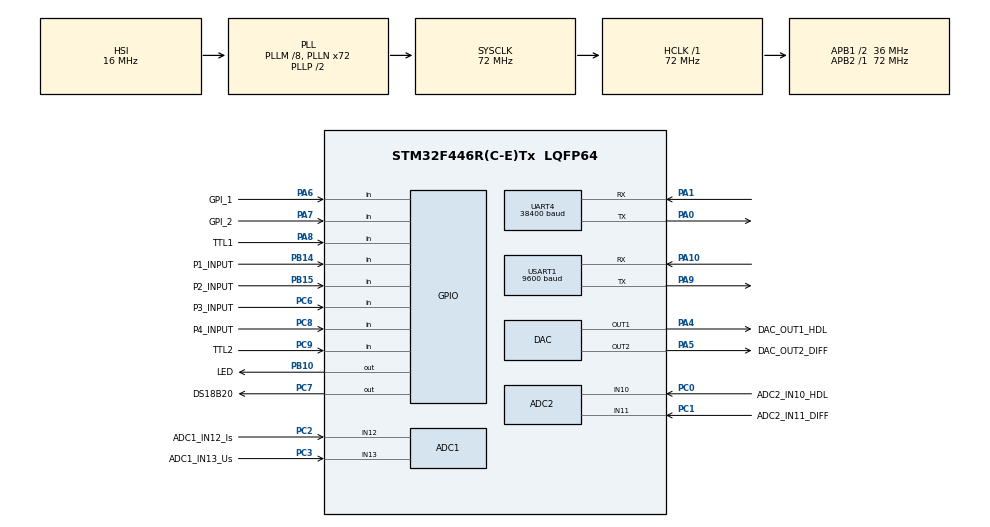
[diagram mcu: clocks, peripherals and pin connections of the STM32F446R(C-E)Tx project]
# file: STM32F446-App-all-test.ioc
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ADC1.Channel-0\#ChannelRegularConversion=ADC_CHANNEL_12
ADC1.Channel-1\#ChannelRegularConversion=ADC_CHANNEL_13
ADC1.ClockPrescaler=ADC_CLOCK_SYNC_PCLK_DIV4
ADC1.ContinuousConvMode=ENABLE
ADC1.DMAContinuousRequests=ENABLE
ADC1.InjNumberOfConversion=0
ADC1.NbrOfConversion=2
ADC1.NbrOfConversionFlag=1
ADC1.Rank-0\#ChannelRegularConversion=1
ADC1.Rank-1\#ChannelRegularConversion=2
ADC1.SamplingTime-0\#ChannelRegularConversion=ADC_SAMPLETIME_144CYCLES
ADC1.SamplingTime-1\#ChannelRegularConversion=ADC_SAMPLETIME_144CYCLES
ADC1.ScanConvMode=ENABLE
ADC1.master=1
ADC2.Channel-0\#ChannelRegularConversion=ADC_CHANNEL_10
ADC2.Channel-1\#ChannelRegularConversion=ADC_CHANNEL_11
ADC2.ClockPrescaler=ADC_CLOCK_SYNC_PCLK_DIV4
ADC2.ContinuousConvMode=ENABLE
ADC2.DMAContinuousRequests=ENABLE
ADC2.NbrOfConversion=2
ADC2.NbrOfConversionFlag=1
ADC2.Rank-0\#ChannelRegularConversion=1
ADC2.Rank-1\#ChannelRegularConversion=2
ADC2.SamplingTime-0\#ChannelRegularConversion=ADC_SAMPLETIME_144CYCLES
ADC2.SamplingTime-1\#ChannelRegularConversion=ADC_SAMPLETIME_144CYCLES
ADC2.ScanConvMode=ENABLE
Dma.ADC1.1.Direction=DMA_PERIPH_TO_MEMORY
Dma.ADC1.1.FIFOMode=DMA_FIFOMODE_DISABLE
Dma.ADC1.1.Instance=DMA2_Stream0
Dma.ADC1.1.MemDataAlignment=DMA_MDATAALIGN_WORD
Dma.ADC1.1.MemInc=DMA_MINC_ENABLE
Dma.ADC1.1.Mode=DMA_CIRCULAR
Dma.ADC1.1.PeriphDataAlignment=DMA_PDATAALIGN_WORD
Dma.ADC1.1.PeriphInc=DMA_PINC_DISABLE
Dma.ADC1.1.Priority=DMA_PRIORITY_LOW
Dma.ADC2.2.Direction=DMA_PERIPH_TO_MEMORY
Dma.ADC2.2.FIFOMode=DMA_FIFOMODE_DISABLE
Dma.ADC2.2.Instance=DMA2_Stream2
Dma.ADC2.2.MemDataAlignment=DMA_MDATAALIGN_WORD
Dma.ADC2.2.MemInc=DMA_MINC_ENABLE
Dma.ADC2.2.Mode=DMA_CIRCULAR
Dma.ADC2.2.PeriphDataAlignment=DMA_PDATAALIGN_WORD
Dma.ADC2.2.PeriphInc=DMA_PINC_DISABLE
Dma.ADC2.2.Priority=DMA_PRIORITY_LOW
Dma.Request0=UART4_RX
Dma.Request1=ADC1
Dma.Request2=ADC2
Dma.UART4_RX.0.Direction=DMA_PERIPH_TO_MEMORY
Dma.UART4_RX.0.FIFOMode=DMA_FIFOMODE_DISABLE
Dma.UART4_RX.0.Instance=DMA1_Stream2
Dma.UART4_RX.0.MemDataAlignment=DMA_MDATAALIGN_BYTE
Dma.UART4_RX.0.MemInc=DMA_MINC_ENABLE
Dma.UART4_RX.0.Mode=DMA_CIRCULAR
Dma.UART4_RX.0.PeriphDataAlignment=DMA_PDATAALIGN_BYTE
Dma.UART4_RX.0.PeriphInc=DMA_PINC_DISABLE
Dma.UART4_RX.0.Priority=DMA_PRIORITY_LOW
Mcu.Family=STM32F4
Mcu.Name=STM32F446R(C-E)Tx
Mcu.Package=LQFP64
NVIC.DMA1_Stream2_IRQn=true\:0\:0\:false\:false\:true\:false\:true\:true
NVIC.DMA2_Stream0_IRQn=true\:0\:0\:true\:false\:true\:false\:true\:true
NVIC.DMA2_Stream2_IRQn=true\:0\:0\:true\:false\:true\:false\:true\:true
NVIC.PriorityGroup=NVIC_PRIORITYGROUP_4
NVIC.UART4_IRQn=true\:0\:0\:false\:false\:true\:true\:true\:true
PA0-WKUP.Mode=Asynchronous
PA0-WKUP.Signal=UART4_TX
PA1.Mode=Asynchronous
PA1.Signal=UART4_RX
PA10.Mode=Asynchronous
PA10.Signal=USART1_RX
PA13.Mode=Serial_Wire
PA13.Signal=SYS_JTMS-SWDIO
PA14.Mode=Serial_Wire
PA14.Signal=SYS_JTCK-SWCLK
PA4.GPIO_Label=DAC_OUT1_HDL
PA4.Signal=COMP_DAC1_group
PA5.GPIO_Label=DAC_OUT2_DIFF
PA5.Signal=COMP_DAC2_group
PA6.GPIO_Label=GPI_1
PA6.Signal=GPIO_Input
PA7.GPIO_Label=GPI_2
PA7.Signal=GPIO_Input
PA8.GPIO_Label=TTL1
PA8.Signal=GPIO_Input
PA9.Mode=Asynchronous
PA9.Signal=USART1_TX
PB10.GPIO_Label=LED
PB10.Signal=GPIO_Output
PB14.GPIO_Label=P1_INPUT
PB14.Signal=GPIO_Input
PB15.GPIO_Label=P2_INPUT
PB15.Signal=GPIO_Input
PC0.GPIO_Label=ADC2_IN10_HDL
PC0.Signal=ADCx_IN10
PC1.GPIO_Label=ADC2_IN11_DIFF
PC1.Signal=ADCx_IN11
PC2.GPIO_Label=ADC1_IN12_Is
PC2.Signal=ADCx_IN12
PC3.GPIO_Label=ADC1_IN13_Us
PC3.Signal=ADCx_IN13
PC6.GPIO_Label=P3_INPUT
PC6.Signal=GPIO_Input
PC7.GPIO_Label=DS18B20
PC7.Signal=GPIO_Output
PC8.GPIO_Label=P4_INPUT
PC8.Signal=GPIO_Input
PC9.GPIO_Label=TTL2
PC9.Signal=GPIO_Input
ProjectManager.HeapSize=0x200
ProjectManager.StackSize=0x400
ProjectManager.TargetToolchain=STM32CubeIDE
RCC.AHBFreq_Value=72000000
RCC.APB1CLKDivider=RCC_HCLK_DIV2
RCC.APB1Freq_Value=36000000
RCC.APB1TimFreq_Value=72000000
RCC.APB2Freq_Value=72000000
RCC.APB2TimFreq_Value=72000000
RCC.CortexFreq_Value=72000000
RCC.HCLKFreq_Value=72000000
RCC.HSE_VALUE=8000000
RCC.PLLM=8
RCC.PLLN=72
RCC.SYSCLKFreq_VALUE=72000000
RCC.SYSCLKSource=RCC_SYSCLKSOURCE_PLLCLK
RCC.USBFreq_Value=72000000
RCC.VCOOutputFreq_Value=144000000
SH.ADCx_IN10.0=ADC2_IN10,IN10
SH.ADCx_IN11.0=ADC2_IN11,IN11
SH.ADCx_IN12.0=ADC1_IN12,IN12
SH.ADCx_IN13.0=ADC1_IN13,IN13
SH.COMP_DAC1_group.0=DAC_OUT1,DAC_OUT1
SH.COMP_DAC2_group.0=DAC_OUT2,DAC_OUT2
TIM6.Period=0xffff-1
TIM6.Prescaler=72-1
UART4.BaudRate=38400
UART4.VirtualMode=Asynchronous
USART1.BaudRate=9600
USART1.VirtualMode=VM_ASYNC
VP_TIM6_VS_ClockSourceINT.Mode=Enable_Timer
board=custom

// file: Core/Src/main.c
/* USER CODE BEGIN Header */
/**
  ******************************************************************************
  * @file           : main.c
  * @brief          : Main program body
  ******************************************************************************
  * @attention
  *
  * Copyright (c) 2022 STMicroelectronics.
  * All rights reserved.
  *
  * This software is licensed under terms that can be found in the LICENSE file
  * in the root directory of this software component.
  * If no LICENSE file comes with this software, it is provided AS-IS.
  *
  ******************************************************************************
  */
/* USER CODE END Header */
#include "main.h"

/* USER CODE BEGIN Includes */
#include <stdio.h>
#include <string.h>
#include <stdbool.h>

#include "iap.h"
#include "flash.h"

/* USER CODE END Includes */

/* USER CODE BEGIN PD */
/*Defines*/
/**
 * @brief           Calculate length of statically allocated array
 */
#define ARRAY_LEN(x)            (sizeof(x) / sizeof((x)[0]))
#define STRUCT_ADDRERSS 0x08004800u

/* USER CODE END PD */

 ADC_HandleTypeDef hadc1;
ADC_HandleTypeDef hadc2;
DMA_HandleTypeDef hdma_adc1;
DMA_HandleTypeDef hdma_adc2;

DAC_HandleTypeDef hdac;

TIM_HandleTypeDef htim6;

UART_HandleTypeDef huart1;

/* USER CODE BEGIN PV */
/* variables for iap*/
/**
  * @brief           USART RX buffer for DMA to transfer every received byte
  * @note            Contains raw data that are about to be processed by different events
  */
uint8_t usart_rx_dma_buffer[245];
uint32_t flashBuffer[60];
uint32_t flashBufferCRC[60];
uint8_t crcRes;
uint8_t cnt1 = 0;
uint8_t cnt2 = 0;
uint8_t cnt3 = 0;
uint8_t ind = 0;
uint32_t addrCNT = 0;
uint32_t addrCNTEND = 0;
/*DS18B20 vars*/
uint8_t Presence = 0;
uint8_t Temp_byte1;
uint8_t Temp_byte2;
uint16_t TEMP;
extern uint16_t val;
extern uint8_t buff[4];
uint32_t Is;
uint32_t Us;
uint32_t hdl;
uint32_t diff;

uint32_t vADC1[2];
uint32_t vADC2[2];
/* USER CODE END PV */

void SystemClock_Config(void);
static void MX_GPIO_Init(void);
static void MX_DMA_Init(void);
static void MX_ADC1_Init(void);
static void MX_ADC2_Init(void);
static void MX_DAC_Init(void);
static void MX_UART4_Init(void);
static void MX_USART1_UART_Init(void);
static void MX_TIM6_Init(void);
/* USER CODE BEGIN PFP */

void usart_rx_check(void);
void usart_process_data(const void* data, size_t len);
uint8_t gencrc(uint8_t crc, uint8_t Size, uint8_t *Buffer);
void DS18B20_acq(void);
void DS18B20_Write (uint8_t data);
void delay (uint32_t us);
uint8_t DS18B20_Start (void);
uint8_t read (void);
void gpio_set_input(void);
void gpio_set_output(void);
extern void ultrasound(void);
/* USER CODE END PFP */

int main(void)
{
  /* USER CODE BEGIN 1 */
	/*IAP*/
	IAPSTRUCT structREAD;
	uint32_t *iapStructREAD_p = (uint32_t *)&structREAD;
	uint32_t numofwords = 12;
	uint8_t vals[8];

  /* USER CODE END 1 */

  /* MCU Configuration--------------------------------------------------------*/

  /* Reset of all peripherals, Initializes the Flash interface and the Systick. */
  HAL_Init();

  /* Configure the system clock */
  SystemClock_Config();

  /* Initialize all configured peripherals */
  MX_GPIO_Init();
  MX_DMA_Init();
  MX_ADC1_Init();
  MX_ADC2_Init();
  MX_DAC_Init();
  MX_UART4_Init();
  MX_USART1_UART_Init();
  MX_TIM6_Init();
  /* USER CODE BEGIN 2 */
  /*DS18B20 for delay in us*/

  /* IAP */
  flash_read((uint32_t)STRUCT_ADDRERSS, iapStructREAD_p, numofwords);
  addrCNT = structREAD.ADDRESS_APP_2_START;
  addrCNTEND = structREAD.ADDRESS_APP_2_END;

  /* ADC1-2 */
  HAL_ADC_Start_DMA(&hadc1, (uint32_t *)vADC1, 2);
  HAL_ADC_Start_DMA(&hadc2, (uint32_t *)vADC2, 2);
  HAL_DAC_Start(&hdac, DAC_CHANNEL_1);
  HAL_DAC_Start(&hdac, DAC_CHANNEL_2);
  HAL_DAC_SetValue(&hdac, DAC_CHANNEL_1, DAC_ALIGN_12B_R, 2000);
  HAL_DAC_SetValue(&hdac, DAC_CHANNEL_2, DAC_ALIGN_12B_R, 1000);

  HAL_TIM_Base_Start(&htim6);

  /* USER CODE END 2 */

  /* Infinite loop */
  /* USER CODE BEGIN WHILE */
  while (1)
  {
	  HAL_ADC_Stop_DMA(&hadc1);
	  HAL_ADC_Stop_DMA(&hadc2);
	  //DS18B20_acq();
	  Presence = DS18B20_Start ();
	  HAL_Delay (1);
	  DS18B20_Write (0xCC);  // skip ROM
	  DS18B20_Write (0x44);  // convert t
	  HAL_Delay (800);

	  Presence = DS18B20_Start ();
	  HAL_Delay(1);
	  DS18B20_Write (0xCC);  // skip ROM
	  DS18B20_Write (0xBE);  // Read Scratch-pad

	  Temp_byte1 = read();
	  Temp_byte2 = read();
	  TEMP = (Temp_byte2<<8) | Temp_byte1;

	  HAL_UART_Receive(&huart1, buff, 4, 100u);
	  ultrasound();

	  HAL_ADC_Start_DMA(&hadc1, (uint32_t *)vADC1, 2);
	  HAL_ADC_Start_DMA(&hadc2, (uint32_t *)vADC2, 2);

	  Is = vADC1[0];
	  Us = vADC1[1];
	  hdl = vADC2[0];
	  diff = vADC2[1];

	  vals[0] = HAL_GPIO_ReadPin(GPIOB, P1_INPUT_Pin);
	  vals[1] = HAL_GPIO_ReadPin(GPIOB, P2_INPUT_Pin);
	  vals[2] = HAL_GPIO_ReadPin(GPIOC, P3_INPUT_Pin);
	  vals[3] = HAL_GPIO_ReadPin(GPIOC, P4_INPUT_Pin);
	  vals[4] = HAL_GPIO_ReadPin(GPIOA, TTL1_Pin);
	  vals[5] = HAL_GPIO_ReadPin(GPIOC, TTL2_Pin);
	  vals[6] = HAL_GPIO_ReadPin(GPIOA, GPI_1_Pin);
	  vals[7] = HAL_GPIO_ReadPin(GPIOA, GPI_2_Pin);

	  printf("Temp (%d.%d)	Us:%ld	Is:%ld	HDL:%ld	DIFF:%ld	Dist:%d mm\n\rP1:%d	P2:%d	P3:%d	P4:%d	TTL1:%d	TTL2:%d	GPI1:%d	GPI2:%d\n\r",
			  TEMP/16, TEMP%16, Us, Is, hdl, diff, val, vals[0],vals[1],vals[2],vals[3],vals[4],vals[5],vals[6],vals[7]);
	  HAL_GPIO_TogglePin(LED_GPIO_Port, LED_Pin);
	  HAL_Delay(1000u);
    /* USER CODE END WHILE */

  }
}

void SystemClock_Config(void)
{
  RCC_OscInitTypeDef RCC_OscInitStruct = {0};
  RCC_ClkInitTypeDef RCC_ClkInitStruct = {0};

  /** Configure the main internal regulator output voltage
  */
  __HAL_RCC_PWR_CLK_ENABLE();
  __HAL_PWR_VOLTAGESCALING_CONFIG(PWR_REGULATOR_VOLTAGE_SCALE3);

  /** Initializes the RCC Oscillators according to the specified parameters
  * in the RCC_OscInitTypeDef structure.
  */
  RCC_OscInitStruct.OscillatorType = RCC_OSCILLATORTYPE_HSI;
  RCC_OscInitStruct.HSIState = RCC_HSI_ON;
  RCC_OscInitStruct.HSICalibrationValue = RCC_HSICALIBRATION_DEFAULT;
  RCC_OscInitStruct.PLL.PLLState = RCC_PLL_ON;
  RCC_OscInitStruct.PLL.PLLSource = RCC_PLLSOURCE_HSI;
  RCC_OscInitStruct.PLL.PLLM = 8;
  RCC_OscInitStruct.PLL.PLLN = 72;
  RCC_OscInitStruct.PLL.PLLP = RCC_PLLP_DIV2;
  RCC_OscInitStruct.PLL.PLLQ = 2;
  RCC_OscInitStruct.PLL.PLLR = 2;
  if (HAL_RCC_OscConfig(&RCC_OscInitStruct) != HAL_OK)
  {
    Error_Handler();
  }

  /** Initializes the CPU, AHB and APB buses clocks
  */
  RCC_ClkInitStruct.ClockType = RCC_CLOCKTYPE_HCLK|RCC_CLOCKTYPE_SYSCLK
                              |RCC_CLOCKTYPE_PCLK1|RCC_CLOCKTYPE_PCLK2;
  RCC_ClkInitStruct.SYSCLKSource = RCC_SYSCLKSOURCE_PLLCLK;
  RCC_ClkInitStruct.AHBCLKDivider = RCC_SYSCLK_DIV1;
  RCC_ClkInitStruct.APB1CLKDivider = RCC_HCLK_DIV2;
  RCC_ClkInitStruct.APB2CLKDivider = RCC_HCLK_DIV1;

  if (HAL_RCC_ClockConfig(&RCC_ClkInitStruct, FLASH_LATENCY_2) != HAL_OK)
  {
    Error_Handler();
  }
}

static void MX_ADC1_Init(void)
{

  ADC_ChannelConfTypeDef sConfig = {0};

  /** Configure the global features of the ADC (Clock, Resolution, Data Alignment and number of conversion)
  */
  hadc1.Instance = ADC1;
  hadc1.Init.ClockPrescaler = ADC_CLOCK_SYNC_PCLK_DIV4;
  hadc1.Init.Resolution = ADC_RESOLUTION_12B;
  hadc1.Init.ScanConvMode = ENABLE;
  hadc1.Init.ContinuousConvMode = ENABLE;
  hadc1.Init.DiscontinuousConvMode = DISABLE;
  hadc1.Init.ExternalTrigConvEdge = ADC_EXTERNALTRIGCONVEDGE_NONE;
  hadc1.Init.ExternalTrigConv = ADC_SOFTWARE_START;
  hadc1.Init.DataAlign = ADC_DATAALIGN_RIGHT;
  hadc1.Init.NbrOfConversion = 2;
  hadc1.Init.DMAContinuousRequests = ENABLE;
  hadc1.Init.EOCSelection = ADC_EOC_SINGLE_CONV;
  if (HAL_ADC_Init(&hadc1) != HAL_OK)
  {
    Error_Handler();
  }

  /** Configure for the selected ADC regular channel its corresponding rank in the sequencer and its sample time.
  */
  sConfig.Channel = ADC_CHANNEL_12;
  sConfig.Rank = 1;
  sConfig.SamplingTime = ADC_SAMPLETIME_144CYCLES;
  if (HAL_ADC_ConfigChannel(&hadc1, &sConfig) != HAL_OK)
  {
    Error_Handler();
  }

  /** Configure for the selected ADC regular channel its corresponding rank in the sequencer and its sample time.
  */
  sConfig.Channel = ADC_CHANNEL_13;
  sConfig.Rank = 2;
  if (HAL_ADC_ConfigChannel(&hadc1, &sConfig) != HAL_OK)
  {
    Error_Handler();
  }
  /* USER CODE BEGIN ADC1_Init 2 */
  /*LL_ADC_REG_SetSequencerRanks(ADC1, LL_ADC_REG_RANK_2, LL_ADC_CHANNEL_12);
  LL_ADC_SetChannelSamplingTime(ADC1, LL_ADC_CHANNEL_12, LL_ADC_SAMPLINGTIME_15CYCLES);
  LL_ADC_REG_SetSequencerRanks(ADC1, LL_ADC_REG_RANK_1, LL_ADC_CHANNEL_13);
  LL_ADC_SetChannelSamplingTime(ADC1, LL_ADC_CHANNEL_13, LL_ADC_SAMPLINGTIME_3CYCLES);*/
  /* USER CODE END ADC1_Init 2 */

}

static void MX_ADC2_Init(void)
{

  ADC_ChannelConfTypeDef sConfig = {0};

  /** Configure the global features of the ADC (Clock, Resolution, Data Alignment and number of conversion)
  */
  hadc2.Instance = ADC2;
  hadc2.Init.ClockPrescaler = ADC_CLOCK_SYNC_PCLK_DIV4;
  hadc2.Init.Resolution = ADC_RESOLUTION_12B;
  hadc2.Init.ScanConvMode = ENABLE;
  hadc2.Init.ContinuousConvMode = ENABLE;
  hadc2.Init.DiscontinuousConvMode = DISABLE;
  hadc2.Init.ExternalTrigConvEdge = ADC_EXTERNALTRIGCONVEDGE_NONE;
  hadc2.Init.ExternalTrigConv = ADC_SOFTWARE_START;
  hadc2.Init.DataAlign = ADC_DATAALIGN_RIGHT;
  hadc2.Init.NbrOfConversion = 2;
  hadc2.Init.DMAContinuousRequests = ENABLE;
  hadc2.Init.EOCSelection = ADC_EOC_SINGLE_CONV;
  if (HAL_ADC_Init(&hadc2) != HAL_OK)
  {
    Error_Handler();
  }

  /** Configure for the selected ADC regular channel its corresponding rank in the sequencer and its sample time.
  */
  sConfig.Channel = ADC_CHANNEL_10;
  sConfig.Rank = 1;
  sConfig.SamplingTime = ADC_SAMPLETIME_144CYCLES;
  if (HAL_ADC_ConfigChannel(&hadc2, &sConfig) != HAL_OK)
  {
    Error_Handler();
  }

  /** Configure for the selected ADC regular channel its corresponding rank in the sequencer and its sample time.
  */
  sConfig.Channel = ADC_CHANNEL_11;
  sConfig.Rank = 2;
  if (HAL_ADC_ConfigChannel(&hadc2, &sConfig) != HAL_OK)
  {
    Error_Handler();
  }

}

static void MX_DAC_Init(void)
{

  DAC_ChannelConfTypeDef sConfig = {0};

  /** DAC Initialization
  */
  hdac.Instance = DAC;
  if (HAL_DAC_Init(&hdac) != HAL_OK)
  {
    Error_Handler();
  }

  /** DAC channel OUT1 config
  */
  sConfig.DAC_Trigger = DAC_TRIGGER_NONE;
  sConfig.DAC_OutputBuffer = DAC_OUTPUTBUFFER_ENABLE;
  if (HAL_DAC_ConfigChannel(&hdac, &sConfig, DAC_CHANNEL_1) != HAL_OK)
  {
    Error_Handler();
  }

  /** DAC channel OUT2 config
  */
  if (HAL_DAC_ConfigChannel(&hdac, &sConfig, DAC_CHANNEL_2) != HAL_OK)
  {
    Error_Handler();
  }

}

static void MX_TIM6_Init(void)
{

  TIM_MasterConfigTypeDef sMasterConfig = {0};

  htim6.Instance = TIM6;
  htim6.Init.Prescaler = 72-1;
  htim6.Init.CounterMode = TIM_COUNTERMODE_UP;
  htim6.Init.Period = 0xffff-1;
  htim6.Init.AutoReloadPreload = TIM_AUTORELOAD_PRELOAD_DISABLE;
  if (HAL_TIM_Base_Init(&htim6) != HAL_OK)
  {
    Error_Handler();
  }
  sMasterConfig.MasterOutputTrigger = TIM_TRGO_RESET;
  sMasterConfig.MasterSlaveMode = TIM_MASTERSLAVEMODE_DISABLE;
  if (HAL_TIMEx_MasterConfigSynchronization(&htim6, &sMasterConfig) != HAL_OK)
  {
    Error_Handler();
  }

}

static void MX_UART4_Init(void)
{

  LL_USART_InitTypeDef USART_InitStruct = {0};

  LL_GPIO_InitTypeDef GPIO_InitStruct = {0};

  /* Peripheral clock enable */
  LL_APB1_GRP1_EnableClock(LL_APB1_GRP1_PERIPH_UART4);

  LL_AHB1_GRP1_EnableClock(LL_AHB1_GRP1_PERIPH_GPIOA);
  /**UART4 GPIO Configuration
  PA0-WKUP   ------> UART4_TX
  PA1   ------> UART4_RX
  */
  GPIO_InitStruct.Pin = LL_GPIO_PIN_0|LL_GPIO_PIN_1;
  GPIO_InitStruct.Mode = LL_GPIO_MODE_ALTERNATE;
  GPIO_InitStruct.Speed = LL_GPIO_SPEED_FREQ_VERY_HIGH;
  GPIO_InitStruct.OutputType = LL_GPIO_OUTPUT_PUSHPULL;
  GPIO_InitStruct.Pull = LL_GPIO_PULL_NO;
  GPIO_InitStruct.Alternate = LL_GPIO_AF_8;
  LL_GPIO_Init(GPIOA, &GPIO_InitStruct);

  /* UART4 DMA Init */

  /* UART4_RX Init */
  LL_DMA_SetChannelSelection(DMA1, LL_DMA_STREAM_2, LL_DMA_CHANNEL_4);

  LL_DMA_SetDataTransferDirection(DMA1, LL_DMA_STREAM_2, LL_DMA_DIRECTION_PERIPH_TO_MEMORY);

  LL_DMA_SetStreamPriorityLevel(DMA1, LL_DMA_STREAM_2, LL_DMA_PRIORITY_LOW);

  LL_DMA_SetMode(DMA1, LL_DMA_STREAM_2, LL_DMA_MODE_CIRCULAR);

  LL_DMA_SetPeriphIncMode(DMA1, LL_DMA_STREAM_2, LL_DMA_PERIPH_NOINCREMENT);

  LL_DMA_SetMemoryIncMode(DMA1, LL_DMA_STREAM_2, LL_DMA_MEMORY_INCREMENT);

  LL_DMA_SetPeriphSize(DMA1, LL_DMA_STREAM_2, LL_DMA_PDATAALIGN_BYTE);

  LL_DMA_SetMemorySize(DMA1, LL_DMA_STREAM_2, LL_DMA_MDATAALIGN_BYTE);

  LL_DMA_DisableFifoMode(DMA1, LL_DMA_STREAM_2);

  /* UART4 interrupt Init */
  NVIC_SetPriority(UART4_IRQn, NVIC_EncodePriority(NVIC_GetPriorityGrouping(),0, 0));
  NVIC_EnableIRQ(UART4_IRQn);

  /* USER CODE BEGIN UART4_Init 1 */
  LL_DMA_SetPeriphAddress(DMA1, LL_DMA_STREAM_2, LL_USART_DMA_GetRegAddr(UART4));
  LL_DMA_SetMemoryAddress(DMA1, LL_DMA_STREAM_2, (uint32_t)usart_rx_dma_buffer);
  LL_DMA_SetDataLength(DMA1, LL_DMA_STREAM_2, ARRAY_LEN(usart_rx_dma_buffer));

  /* Enable HT & TC interrupts for RX */
  LL_DMA_EnableIT_HT(DMA1, LL_DMA_STREAM_2);
  LL_DMA_EnableIT_TC(DMA1, LL_DMA_STREAM_2);
  /* USER CODE END UART4_Init 1 */
  USART_InitStruct.BaudRate = 38400;
  USART_InitStruct.DataWidth = LL_USART_DATAWIDTH_8B;
  USART_InitStruct.StopBits = LL_USART_STOPBITS_1;
  USART_InitStruct.Parity = LL_USART_PARITY_NONE;
  USART_InitStruct.TransferDirection = LL_USART_DIRECTION_TX_RX;
  USART_InitStruct.HardwareFlowControl = LL_USART_HWCONTROL_NONE;
  USART_InitStruct.OverSampling = LL_USART_OVERSAMPLING_16;
  LL_USART_Init(UART4, &USART_InitStruct);
  LL_USART_ConfigAsyncMode(UART4);
  LL_USART_Enable(UART4);
  /* USER CODE BEGIN UART4_Init 2 */
  LL_USART_EnableDMAReq_RX(UART4);
  LL_USART_EnableIT_IDLE(UART4);

  /* Enable USART and DMA */
  LL_DMA_EnableStream(DMA1, LL_DMA_STREAM_2);
  /* USER CODE END UART4_Init 2 */

}

static void MX_USART1_UART_Init(void)
{

  huart1.Instance = USART1;
  huart1.Init.BaudRate = 9600;
  huart1.Init.WordLength = UART_WORDLENGTH_8B;
  huart1.Init.StopBits = UART_STOPBITS_1;
  huart1.Init.Parity = UART_PARITY_NONE;
  huart1.Init.Mode = UART_MODE_TX_RX;
  huart1.Init.HwFlowCtl = UART_HWCONTROL_NONE;
  huart1.Init.OverSampling = UART_OVERSAMPLING_16;
  if (HAL_UART_Init(&huart1) != HAL_OK)
  {
    Error_Handler();
  }

}

static void MX_DMA_Init(void)
{

  /* Init with LL driver */
  /* DMA controller clock enable */
  LL_AHB1_GRP1_EnableClock(LL_AHB1_GRP1_PERIPH_DMA1);
  LL_AHB1_GRP1_EnableClock(LL_AHB1_GRP1_PERIPH_DMA2);

  /* DMA interrupt init */
  /* DMA1_Stream2_IRQn interrupt configuration */
  NVIC_SetPriority(DMA1_Stream2_IRQn, NVIC_EncodePriority(NVIC_GetPriorityGrouping(),0, 0));
  NVIC_EnableIRQ(DMA1_Stream2_IRQn);
  /* DMA2_Stream0_IRQn interrupt configuration */
  HAL_NVIC_SetPriority(DMA2_Stream0_IRQn, 0, 0);
  HAL_NVIC_EnableIRQ(DMA2_Stream0_IRQn);
  /* DMA2_Stream2_IRQn interrupt configuration */
  HAL_NVIC_SetPriority(DMA2_Stream2_IRQn, 0, 0);
  HAL_NVIC_EnableIRQ(DMA2_Stream2_IRQn);

}

static void MX_GPIO_Init(void)
{
  GPIO_InitTypeDef GPIO_InitStruct = {0};

  /* GPIO Ports Clock Enable */
  __HAL_RCC_GPIOC_CLK_ENABLE();
  __HAL_RCC_GPIOA_CLK_ENABLE();
  __HAL_RCC_GPIOB_CLK_ENABLE();

  /*Configure GPIO pin Output Level */
  HAL_GPIO_WritePin(LED_GPIO_Port, LED_Pin, GPIO_PIN_RESET);

  /*Configure GPIO pin Output Level */
  HAL_GPIO_WritePin(DS18B20_GPIO_Port, DS18B20_Pin, GPIO_PIN_RESET);

  /*Configure GPIO pins : GPI_1_Pin GPI_2_Pin TTL1_Pin */
  GPIO_InitStruct.Pin = GPI_1_Pin|GPI_2_Pin|TTL1_Pin;
  GPIO_InitStruct.Mode = GPIO_MODE_INPUT;
  GPIO_InitStruct.Pull = GPIO_NOPULL;
  HAL_GPIO_Init(GPIOA, &GPIO_InitStruct);

  /*Configure GPIO pin : LED_Pin */
  GPIO_InitStruct.Pin = LED_Pin;
  GPIO_InitStruct.Mode = GPIO_MODE_OUTPUT_PP;
  GPIO_InitStruct.Pull = GPIO_NOPULL;
  GPIO_InitStruct.Speed = GPIO_SPEED_FREQ_LOW;
  HAL_GPIO_Init(LED_GPIO_Port, &GPIO_InitStruct);

  /*Configure GPIO pins : P1_INPUT_Pin P2_INPUT_Pin */
  GPIO_InitStruct.Pin = P1_INPUT_Pin|P2_INPUT_Pin;
  GPIO_InitStruct.Mode = GPIO_MODE_INPUT;
  GPIO_InitStruct.Pull = GPIO_NOPULL;
  HAL_GPIO_Init(GPIOB, &GPIO_InitStruct);

  /*Configure GPIO pins : P3_INPUT_Pin P4_INPUT_Pin TTL2_Pin */
  GPIO_InitStruct.Pin = P3_INPUT_Pin|P4_INPUT_Pin|TTL2_Pin;
  GPIO_InitStruct.Mode = GPIO_MODE_INPUT;
  GPIO_InitStruct.Pull = GPIO_NOPULL;
  HAL_GPIO_Init(GPIOC, &GPIO_InitStruct);

  /*Configure GPIO pin : DS18B20_Pin */
  GPIO_InitStruct.Pin = DS18B20_Pin;
  GPIO_InitStruct.Mode = GPIO_MODE_OUTPUT_PP;
  GPIO_InitStruct.Pull = GPIO_NOPULL;
  GPIO_InitStruct.Speed = GPIO_SPEED_FREQ_LOW;
  HAL_GPIO_Init(DS18B20_GPIO_Port, &GPIO_InitStruct);

}

/* USER CODE BEGIN 4 */
/**
  *	@brief	Check the new data coming in uart
  *
  *
  *	@param	None
  *	@retval None
  *
  */
void usart_rx_check(void)
{
	/* Set up previous position  as stayic variable -> Default linker sets this with value 0
	 * It serves as latest start position
	 */
	static size_t prev_pos;
	size_t pos;

	/* calculation of current position in buffer and look for new data coming */
	pos = ARRAY_LEN(usart_rx_dma_buffer) - LL_DMA_GetDataLength(DMA1, LL_DMA_STREAM_2);
	if (pos != prev_pos) {				/* checks change in received data */
		if (pos>prev_pos){				/* Current position is further than previous one */
			/*
			             * Processing is done in "linear" mode.
			             *
			             * Application processing is fast with single data block,
			             * length is simply calculated by subtracting pointers
			             *
			             * [   0   ]
			             * [   1   ] <- old_pos |------------------------------------|
			             * [   2   ]            |                                    |
			             * [   3   ]            | Single block (len = pos - old_pos) |
			             * [   4   ]            |                                    |
			             * [   5   ]            |------------------------------------|
			             * [   6   ] <- pos
			             * [   7   ]
			             * [ N - 1 ]
			             */
			            usart_process_data(&usart_rx_dma_buffer[prev_pos], pos - prev_pos);
		} else {
            /*
             * Processing is done in "overflow" mode..
             *
             * Application must process data twice,
             * since there are 2 linear memory blocks to handle
             *
             * [   0   ]            |---------------------------------|
             * [   1   ]            | Second block (len = pos)        |
             * [   2   ]            |---------------------------------|
             * [   3   ] <- pos
             * [   4   ] <- old_pos |---------------------------------|
             * [   5   ]            |                                 |
             * [   6   ]            | First block (len = N - old_pos) |
             * [   7   ]            |                                 |
             * [ N - 1 ]            |---------------------------------|
             */
            usart_process_data(&usart_rx_dma_buffer[prev_pos], ARRAY_LEN(usart_rx_dma_buffer) - prev_pos);
            if (pos > 0) {
                usart_process_data(&usart_rx_dma_buffer[0], pos);
            }
		}
		prev_pos = pos;						/* Save current position as old for next transfers */
	}
}
/**
  *	@brief	Processing data from uart
  *	@note	Processing directly or copy to bigger buffer
  *	@param	*data: data to process
  *	@param	len: length in units of bytes
  *	@retval	None
  */
void usart_process_data(const void *data, size_t len) {
	const uint8_t* d = data;
	cnt1++;
	/*
	 * This function is called on DMA TC or HT events, and on UART IDLE (if enabled) event.
	 *
	 * For the sake of this example, function does a loop-back data over UART in polling mode.
	 * Check ringbuff RX-based example for implementation with TX & RX DMA transfer.
	 */
	if (cnt1 > 4)
	{

		if(cnt3 == usart_rx_dma_buffer[3] && cnt3 != 0)
		{
			if ((cnt2 + 1) % 4 == 0 && cnt2 != 0)
			{
				flashBufferCRC[ind] =
						((usart_rx_dma_buffer[cnt1 - 4] & 0xFF) <<0) |
						((usart_rx_dma_buffer[cnt1 - 4 + 1] & 0xFF) << 8) |
						((usart_rx_dma_buffer[cnt1 - 4 + 2] & 0xFF) << 16) |
						((long)(usart_rx_dma_buffer[cnt1 - 4 + 3] & 0xFF) << 24);
				ind++;
			}
			cnt2++;

			if (usart_rx_dma_buffer[0] == 0)		/* Header is 0x00 */
			{
				for (; len > 0; --len, ++d) {
					LL_USART_TransmitData8(UART4, 1);
					while (!LL_USART_IsActiveFlag_TXE(UART4)) {}
				}
				while (!LL_USART_IsActiveFlag_TC(UART4)) {}
			}
			if ((usart_rx_dma_buffer[1]+4 < cnt1) && (cnt1 < usart_rx_dma_buffer[1]+6))
			{
				crcRes = gencrc(0x00,usart_rx_dma_buffer[1],(uint8_t *)flashBufferCRC);
				/* CRC here */
 				if(crcRes == usart_rx_dma_buffer[cnt1-1])
				{
					flash_write(addrCNT, flashBufferCRC, (uint32_t)((usart_rx_dma_buffer[1])/4));
					memset(usart_rx_dma_buffer, 0, sizeof(usart_rx_dma_buffer));
					addrCNT += (uint32_t)((usart_rx_dma_buffer[1])/4);
					//memset(flashBuffer, 0, sizeof(flashBuffer));
					//memset(flashBufferCRC, 0, sizeof(flashBufferCRC));
					cnt1 = 0;
					cnt2 = 0;
					cnt3++;
					ind = 0;

					IAPSTRUCT structREAD;
					uint32_t *iapStructREAD_p = (uint32_t *)&structREAD;
					uint32_t numofwords = 12;
					uint32_t initBL;
					uint32_t *p_BL = &initBL;
					flash_read((uint32_t)STRUCT_ADDRERSS, iapStructREAD_p, numofwords);
					structREAD.ADDRESS_TO_JUMP = structREAD.ADDRESS_APP_1_START;
					numofwords = 12;
					HAL_FLASH_Unlock();
					FLASH_Erase_Sector(1, FLASH_VOLTAGE_RANGE_3);
					HAL_FLASH_Lock();
					flash_write((uint32_t)STRUCT_ADDRERSS, iapStructREAD_p, numofwords);
					initBL = 1;
					flash_write((uint32_t)0x08004000u, p_BL, 1);
				}
 				NVIC_SystemReset();
			}

		}
		else{
			if ((cnt2 + 1) % 4 == 0 && cnt2 != 0)
			{
				flashBufferCRC[ind] =
						((usart_rx_dma_buffer[cnt1 - 4] & 0xFF) <<0) |
						((usart_rx_dma_buffer[cnt1 - 4 + 1] & 0xFF) << 8) |
						((usart_rx_dma_buffer[cnt1 - 4 + 2] & 0xFF) << 16) |
						((long)(usart_rx_dma_buffer[cnt1 - 4 + 3] & 0xFF) << 24);
				ind++;
			}
			cnt2++;

			if (usart_rx_dma_buffer[0] == 0)		/* Header is 0x00 */
			{
				for (; len > 0; --len, ++d) {
					LL_USART_TransmitData8(UART4, 1);
					while (!LL_USART_IsActiveFlag_TXE(UART4)) {}
				}
				while (!LL_USART_IsActiveFlag_TC(UART4)) {}
			}
			if ((244< cnt1) && (cnt1 <246))
			{
				crcRes = gencrc(0x00,sizeof(flashBufferCRC),(uint8_t *)flashBufferCRC);
				if(crcRes == usart_rx_dma_buffer[cnt1-1])
				{
					if (cnt3 == 0)
					{
						HAL_FLASH_Unlock();
						FLASH_Erase_Sector(4, FLASH_VOLTAGE_RANGE_3);
						FLASH_Erase_Sector(5, FLASH_VOLTAGE_RANGE_3);
						HAL_FLASH_Lock();
					}
					flash_write(addrCNT, flashBufferCRC, (uint32_t)((usart_rx_dma_buffer[1])/4));
					memset(usart_rx_dma_buffer, 0, sizeof(usart_rx_dma_buffer));
					addrCNT += sizeof(flashBuffer);
					memset(flashBuffer, 0, sizeof(flashBuffer));
					cnt1 = 0;
					cnt2 = 0;
					cnt3++;
					ind = 0;

				}
			}

		}

	}
	else{
		if (usart_rx_dma_buffer[0] == 0)		/* Header is 0x00 */
		{
			for (; len > 0; --len, ++d) {
				LL_USART_TransmitData8(UART4, 1);
				while (!LL_USART_IsActiveFlag_TXE(UART4)) {}
			}
			while (!LL_USART_IsActiveFlag_TC(UART4)) {}
		}
	}

}
/**
  *	@brief	CRC 8-bit for packet integrity
  *	@param	*data: of 0-59B
  *	@param	length:	length of the data received
  *	@retval	CRC number
  */
uint8_t gencrc(uint8_t crc, uint8_t Size, uint8_t *Buffer)
{
  static const uint8_t CrcTable[] = { // 0x07 Polynomial Table, 8-bit,
		  0x00,0x5e,0xbc,0xe2,0x61,0x3f,0xdd,0x83,
		  0xc2,0x9c,0x7e,0x20,0xa3,0xfd,0x1f,0x41,
		  0x9d,0xc3,0x21,0x7f,0xfc,0xa2,0x40,0x1e,
		  0x5f,0x01,0xe3,0xbd,0x3e,0x60,0x82,0xdc,
		  0x23,0x7d,0x9f,0xc1,0x42,0x1c,0xfe,0xa0,
		  0xe1,0xbf,0x5d,0x03,0x80,0xde,0x3c,0x62,
		  0xbe,0xe0,0x02,0x5c,0xdf,0x81,0x63,0x3d,
		  0x7c,0x22,0xc0,0x9e,0x1d,0x43,0xa1,0xff,
		  0x46,0x18,0xfa,0xa4,0x27,0x79,0x9b,0xc5,
		  0x84,0xda,0x38,0x66,0xe5,0xbb,0x59,0x07,
		  0xdb,0x85,0x67,0x39,0xba,0xe4,0x06,0x58,
		  0x19,0x47,0xa5,0xfb,0x78,0x26,0xc4,0x9a,
		  0x65,0x3b,0xd9,0x87,0x04,0x5a,0xb8,0xe6,
		  0xa7,0xf9,0x1b,0x45,0xc6,0x98,0x7a,0x24,
		  0xf8,0xa6,0x44,0x1a,0x99,0xc7,0x25,0x7b,
		  0x3a,0x64,0x86,0xd8,0x5b,0x05,0xe7,0xb9,
		  0x8c,0xd2,0x30,0x6e,0xed,0xb3,0x51,0x0f,
		  0x4e,0x10,0xf2,0xac,0x2f,0x71,0x93,0xcd,
		  0x11,0x4f,0xad,0xf3,0x70,0x2e,0xcc,0x92,
		  0xd3,0x8d,0x6f,0x31,0xb2,0xec,0x0e,0x50,
		  0xaf,0xf1,0x13,0x4d,0xce,0x90,0x72,0x2c,
		  0x6d,0x33,0xd1,0x8f,0x0c,0x52,0xb0,0xee,
		  0x32,0x6c,0x8e,0xd0,0x53,0x0d,0xef,0xb1,
		  0xf0,0xae,0x4c,0x12,0x91,0xcf,0x2d,0x73,
		  0xca,0x94,0x76,0x28,0xab,0xf5,0x17,0x49,
		  0x08,0x56,0xb4,0xea,0x69,0x37,0xd5,0x8b,
		  0x57,0x09,0xeb,0xb5,0x36,0x68,0x8a,0xd4,
		  0x95,0xcb,0x29,0x77,0xf4,0xaa,0x48,0x16,
		  0xe9,0xb7,0x55,0x0b,0x88,0xd6,0x34,0x6a,
		  0x2b,0x75,0x97,0xc9,0x4a,0x14,0xf6,0xa8,
		  0x74,0x2a,0xc8,0x96,0x15,0x4b,0xa9,0xf7,
		  0xb6,0xe8,0x0a,0x54,0xd7,0x89,0x6b,0x35  };

  while(Size--)
  {
    crc =   *Buffer++ ^ crc; // Apply Byte

    crc = CrcTable[crc & 0xFF]; // One round of 8-bits
  }

  return(crc);
}
/**
  *	@brief DS18B20 ACQ fcn
  */

void DS18B20_acq(void)
{
	Presence = DS18B20_Start ();
	HAL_Delay (1);
	DS18B20_Write (0xCC);  // skip ROM
	DS18B20_Write (0x44);  // convert t
	HAL_Delay (800);

	Presence = DS18B20_Start ();
	HAL_Delay(1);
	DS18B20_Write (0xCC);  // skip ROM
	DS18B20_Write (0xBE);  // Read Scratch-pad

	Temp_byte1 = read();
	Temp_byte2 = read();
	TEMP = (Temp_byte2<<8) | Temp_byte1;

}
void delay (uint32_t us)
{
    __HAL_TIM_SET_COUNTER(&htim6,0);
    while ((__HAL_TIM_GET_COUNTER(&htim6))<us);
}

void DS18B20_Write (uint8_t data)
{
	gpio_set_output();

	for (int i=0; i<8; i++)
	{

		if ((data & (1<<i))!=0)  // if the bit is high
		{
			// write 1

			gpio_set_output();
			HAL_GPIO_WritePin (GPIOC, DS18B20_Pin, 0);  // pull the pin LOW
			delay (1);  // wait for 1 us

			gpio_set_input();
			delay (60);  // wait for 60 us
		}

		else  // if the bit is low
		{
			// write 0

			gpio_set_output();
			HAL_GPIO_WritePin (GPIOC, DS18B20_Pin, 0);  // pull the pin LOWi
			delay (60);  // wait for 60 us

			gpio_set_input();
		}
	}
}
uint8_t DS18B20_Start (void)
{
	uint8_t Response = 0;
	gpio_set_output();
	HAL_GPIO_WritePin (GPIOC, DS18B20_Pin, 0);  // pull the pin low
	delay (480);   // delay according to datasheet

	gpio_set_input();
	delay (80);    // delay according to datasheet

	if (!(HAL_GPIO_ReadPin (GPIOC, DS18B20_Pin))) Response = 1;    // if the pin is low i.e the presence pulse is detected
	else Response = -1;

	delay (400); // 480 us delay totally.

	return Response;
}
uint8_t read (void)
{
	uint8_t value=0;
	gpio_set_input ();

	for (int i=0;i<8;i++)
	{
		gpio_set_output ();   // set as output

		HAL_GPIO_WritePin (GPIOC, DS18B20_Pin, 0);  // pull the data pin LOW
		delay (2);  // wait for 2 us

		gpio_set_input ();  // set as input
		if (HAL_GPIO_ReadPin (GPIOC, DS18B20_Pin))  // if the pin is HIGH
		{
			value |= 1<<i;  // read = 1
		}
		delay (60);  // wait for 60 us
	}
	return value;
}
void gpio_set_input(void){
	GPIO_InitTypeDef GPIO_InitStruct = {0};
	GPIO_InitStruct.Pin = DS18B20_Pin;
	GPIO_InitStruct.Mode = GPIO_MODE_INPUT;
	GPIO_InitStruct.Pull = GPIO_PULLUP;
	HAL_GPIO_Init(GPIOC, &GPIO_InitStruct);
}
void gpio_set_output(void){
	GPIO_InitTypeDef GPIO_InitStruct = {0};
	GPIO_InitStruct.Pin = DS18B20_Pin;
	GPIO_InitStruct.Mode = GPIO_MODE_OUTPUT_PP;
	GPIO_InitStruct.Speed = GPIO_SPEED_FREQ_LOW;
	HAL_GPIO_Init(GPIOC, &GPIO_InitStruct);
}
/**
  * @brief Print the characters to UART (printf).
  * @retval int
  */
#ifdef __GNUC__
  /* With GCC, small printf (option LD Linker->Libraries->Small printf
     set to 'Yes') calls __io_putchar() */
int __io_putchar(int ch)
#else
int fputc(int ch, FILE *f)
#endif /* __GNUC__ */
{
  /* Place your implementation of fputc here */
  /* e.g. write a character to the UART3 and Loop until the end of transmission */
  LL_USART_TransmitData8(UART4, (uint8_t)ch);
  HAL_Delay(2);
  return ch;
}
/* USER CODE END 4 */

void Error_Handler(void)
{
  __disable_irq();
  while (1)
  {
  }
}
